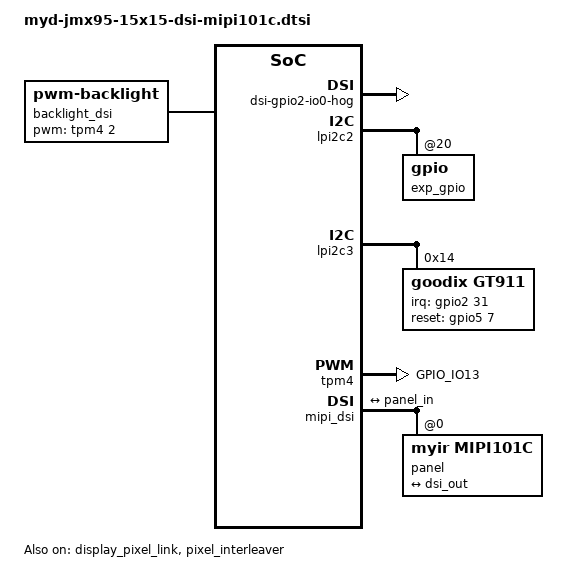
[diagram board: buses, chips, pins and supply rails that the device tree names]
// SPDX-License-Identifier: GPL-2.0+
/*
 * Copyright 2026 MYIR
 */

#include "imx95-clock.h"
#include <dt-bindings/gpio/gpio.h>
#include "imx95-pinfunc.h"

/ {
	backlight_dsi: backlight-dsi {
		compatible = "pwm-backlight";
		pwms = <&tpm4 2 4000000 0>;
		brightness-levels = <0 45 63 88 119 158 203 255>;
		default-brightness-level = <6>;
	};
};

&gpio2 {
	dsi-gpio2-io0-hog {
		gpio-hog;
		gpios = <0 GPIO_ACTIVE_HIGH>;
		output-high;
		status = "okay";
	};
};

&lpi2c2 {
	status = "okay";

	exp_gpio: gpio@20 {
		dsi-eio-p11-hog {
			gpio-hog;
			gpios = <9 GPIO_ACTIVE_HIGH>;
			output-high;
			status = "okay";
		};

		dsi-eio-p12-hog {
			gpio-hog;
			gpios = <10 GPIO_ACTIVE_HIGH>;
			output-high;
			status = "okay";
		};
	};
};

&lpi2c3 {
	status = "okay";
	
	gt911: gt911@14 {
		compatible = "goodix,gt911";
		reg = <0x14>;
		pinctrl-names = "default";
		pinctrl-0 = <&pinctrl_dsi1_touch>;
		interrupt-parent = <&gpio2>;
		interrupts = <31 IRQ_TYPE_EDGE_FALLING>;
		irq-gpios = <&gpio2 31 GPIO_ACTIVE_HIGH>;
		reset-gpios = <&gpio5 7 GPIO_ACTIVE_HIGH>;
		esd-recovery-timeout-ms = <2000>;
		touchscreen-size-x = <1200>;
		touchscreen-size-y = <1920>;
		status = "okay";
	};
};

&tpm4 {
	pinctrl-names = "default";
	pinctrl-0 = <&pinctrl_tpm4>;
	status = "okay";
};

&display_pixel_link {
	status = "okay";
};

&dpu {
	assigned-clocks = <&scmi_clk IMX95_CLK_DISP1PIX>,
			  <&scmi_clk IMX95_CLK_VIDEOPLL1_VCO>,
			  <&scmi_clk IMX95_CLK_VIDEOPLL1>;
	assigned-clock-parents = <&scmi_clk IMX95_CLK_VIDEOPLL1>;
	assigned-clock-rates = <0>, <4008000000>, <445333334>;
};

&mipi_dsi {
	#address-cells = <1>;
	#size-cells = <0>;
	status = "okay";

	panel@0 {
		compatible = "myir,mipi101c";
		reg = <0>;
		dsi-lanes = <4>;
		video-mode = <2>;	/* 0: burst mode
					 * 1: non-burst mode with sync event
					 * 2: non-burst mode with sync pulse
					 */
		panel-width-mm = <135>;
		panel-height-mm = <216>;
		status = "okay";

		port {
			panel_in: endpoint {
				remote-endpoint = <&dsi_out>;
			};
		};
	};

	ports {
		#address-cells = <1>;
		#size-cells = <0>;

		port@1 {
			reg = <1>;

			dsi_out: endpoint {
				remote-endpoint = <&panel_in>;
			};
		};
	};
};

&pixel_interleaver {
	#address-cells = <1>;
	#size-cells = <0>;
	status = "okay";

	channel@0 {
		reg = <0>;
		status = "okay";
	};
};

&scmi_iomuxc {
	pinctrl-names = "default";
	pinctrl-0 = <&pinctrl_hog>;
	pinctrl_hog: hoggrp {
		fsl,pins = <
			IMX95_PAD_GPIO_IO00__GPIO2_IO_BIT0    0x31e
		>;
	};

	pinctrl_tpm4: tpm4grp {
		fsl,pins = <
			IMX95_PAD_GPIO_IO13__TPM4_CH2    0x51e
		>;
	};

	pinctrl_dsi1_touch: dsi1_touch_grp {
		fsl,pins = <
			IMX95_PAD_GPIO_IO31__GPIO2_IO_BIT31    0x31e
			IMX95_PAD_XSPI1_DATA7__GPIO5_IO_BIT7    0x31e
		>;
	};
};
